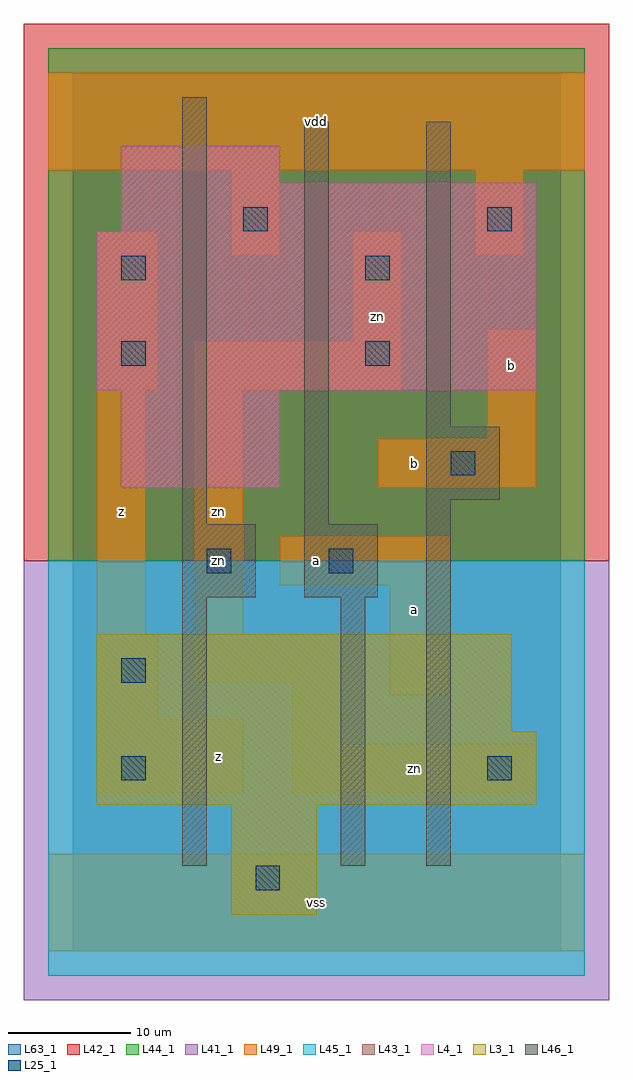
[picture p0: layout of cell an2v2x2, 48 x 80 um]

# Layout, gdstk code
import gdstk
lib = gdstk.Library(unit=1e-6, precision=1e-09)
def R(c, l, rs):  # rectangles x0, y0, x1, y1
    for r in rs: c.add(gdstk.rectangle(r[:2], r[2:], *l))
L3_1 = (3, 1)
L4_1 = (4, 1)
L25_1 = (25, 1)
L41_1 = (41, 1)
L42_1 = (42, 1)
L43_1 = (43, 1)
L44_1 = (44, 1)
L45_1 = (45, 1)
L46_1 = (46, 1)
L49_1 = (49, 1)
L63_1 = (63, 1)

an2v2x2 = lib.new_cell('an2v2x2')
R(an2v2x2, L3_1, [(13,3,20,12), (2,12,38,18), (2,18,36,26)])
R(an2v2x2, L4_1, [(4,38,17,46), (2,46,38,59), (4,59,38,63), (4,63,17,66)])
R(an2v2x2, L25_1, [(15,5,17,7), (4,14,6,16), (34,14,36,16), (4,22,6,24), (11,31,13,33), (21,31,23,33), (31,39,33,41), (4,48,6,50), (24,48,26,50), (4,55,6,57), (24,55,26,57), (14,59,16,61), (34,59,36,61)])
R(an2v2x2, L41_1, [(-4,-4,44,32)])
R(an2v2x2, L42_1, [(-4,32,44,76)])
R(an2v2x2, L43_1, [(13,3,20,12), (2,12,38,18), (2,18,36,26), (4,38,17,46), (2,46,38,59), (4,59,38,63), (4,63,17,66)])
R(an2v2x2, L44_1, [(-2,32,42,74)])
R(an2v2x2, L45_1, [(-2,-2,42,32)])
R(an2v2x2, L46_1, [(9,7,11,29), (22,7,24,29), (29,7,31,37), (9,29,15,35), (19,29,25,35), (9,35,11,70), (19,35,21,68), (29,37,35,43), (29,43,31,68)])
R(an2v2x2, L49_1, [(-2,0,42,8), (2,13,14,19), (18,13,38,17), (18,17,22,22), (2,19,7,26), (26,21,31,30), (10,22,22,26), (2,26,6,46), (10,26,14,46), (17,30,31,34), (25,38,38,42), (34,42,38,51), (2,46,7,59), (10,46,27,50), (23,50,27,59), (13,57,17,64), (33,57,37,64), (-2,64,42,72)])
R(an2v2x2, L63_1, [(0,0,40,72)])
an2v2x2.add(gdstk.Label('zn', (12,32), layer=49, texttype=1))
an2v2x2.add(gdstk.Label('z', (4,36), layer=49, texttype=1))
an2v2x2.add(gdstk.Label('z', (12,16), layer=49, texttype=1))
an2v2x2.add(gdstk.Label('zn', (12,36), layer=49, texttype=1))
an2v2x2.add(gdstk.Label('vss', (20,4), layer=49, texttype=1))
an2v2x2.add(gdstk.Label('a', (20,32), layer=49, texttype=1))
an2v2x2.add(gdstk.Label('a', (28,28), layer=49, texttype=1))
an2v2x2.add(gdstk.Label('b', (28,40), layer=49, texttype=1))
an2v2x2.add(gdstk.Label('zn', (25,52), layer=49, texttype=1))
an2v2x2.add(gdstk.Label('vdd', (20,68), layer=49, texttype=1))
an2v2x2.add(gdstk.Label('zn', (28,15), layer=49, texttype=1))
an2v2x2.add(gdstk.Label('b', (36,48), layer=49, texttype=1))

lib.write_gds('an2v2x2.gds')
